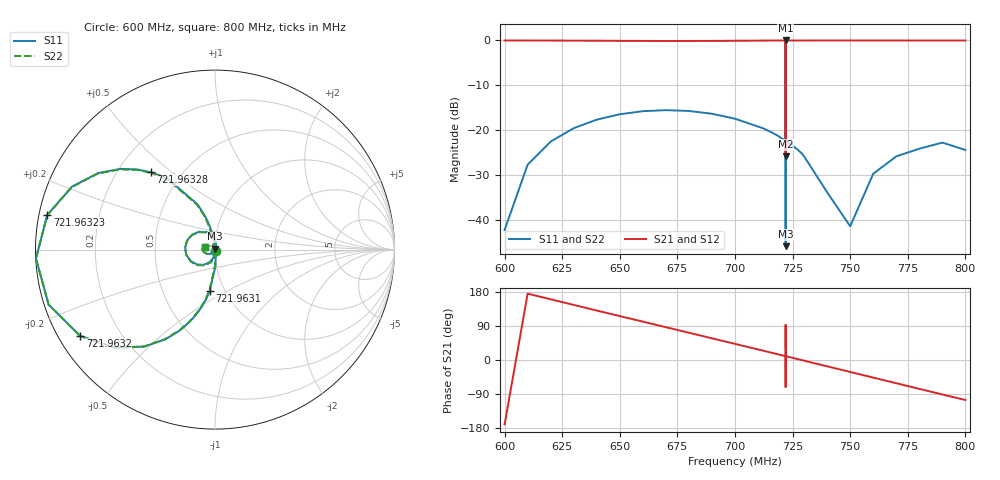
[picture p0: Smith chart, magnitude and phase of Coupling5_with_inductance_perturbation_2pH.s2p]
! Sonnet Data File
! From: emclient Version : 13.56
! From Project: Coupling5_with_inductance_perturbation_2pH
! Data is De-embedded
! Data File Written: 06/30/2014 10:07:00
!< HDATE 05/21/2014 16:49:56
!< MDATE 05/21/2014 17:06:35
# GHZ S RI R 0.020000
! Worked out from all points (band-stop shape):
!   129 points, 600 MHz to 800 MHz, reference 0.02 ohm
!   highest |S21| = 0.00 dB at 721.9627 MHz (marker M1); lowest = -25.9 dB at 721.96322 MHz (marker M2)
!   |S21| within 3 dB of the highest: start of sweep to 721.96318 MHz; 721.96326 MHz to end of sweep
!   lowest |S11| = -45.9 dB at 721.9627 MHz (marker M3), VSWR 1.01, Z = 0.02 + j0.000198 ohm
!   |S11| at or under -10 dB: start of sweep to 721.96313 MHz; 721.96337 MHz to end of sweep
!   |S22| runs from -45.9 to 0.0 dB; largest |S21 - S12| = 2.1e-10
!   S11 on the Smith chart (normalised r, x): 600 MHz: 1.00, -0.01; 721.9631 MHz: 0.85, -0.41; 721.9632 MHz: 0.06, -0.29; 721.96323 MHz: 0.02, +0.10; 721.96328 MHz: 0.34, +0.42; 800 MHz: 0.89, +0.03
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0.6  -0.00179 -0.00745  -0.9848 -0.1736  -0.9848 -0.1736  0.00423 -0.00639
!< P1 F=0.6 Eeff=(undefined: mp) Z0=(undefined: mp) R=0.0 C=0.0
!< P2 F=0.6 Eeff=(undefined: mp) Z0=(undefined: mp) R=0.0 C=0.0
0.61  -0.0065 -0.0406  -0.9954 0.086  -0.9954 0.086  -0.00056 -0.0411
0.64  -0.1011 -0.0828  -0.644 0.7538  -0.644 0.7538  -0.0976 -0.0869
0.67  -0.1663 0.0124  0.0593 0.9842  0.0593 0.9842  -0.1666 0.00769
0.7  -0.0891 0.0997  0.7292 0.6711  0.7292 0.6711  -0.092 0.0971
0.72191  -0.0119 0.0749  0.9813 0.1769  0.9813 0.1769  -0.015 0.0743
0.72196  -0.00918 0.0642  0.9841 0.1651  0.9841 0.1651  -0.0123 0.0637
0.7219622  -0.00409 0.0398  0.9892 0.1407  0.9892 0.1407  -0.00718 0.0394
0.7219626  -0.000394 0.0165  0.9929 0.1174  0.9929 0.1174  -0.00346 0.0161
0.7219627  0.00102 0.00495  0.9944 0.1059  0.9944 0.1059  -0.00204 0.00463
0.7219631  -0.0293 -0.2298  0.9643 -0.1286  0.9643 -0.1286  -0.0319 -0.2295
0.7219632  -0.751 -0.4815  0.2438 -0.3804  0.2438 -0.3804  -0.751 -0.4814
0.72196322  -0.9975 -0.0496  -0.00256 0.0506  -0.00256 0.0506  -0.9974 -0.0513
0.72196323  -0.9348 0.1924  0.0598 0.2924  0.0598 0.2924  -0.9353 0.1901
0.72196328  -0.3583 0.4312  0.6353 0.5312  0.6353 0.5312  -0.3609 0.429
0.721964  -0.0259 0.1204  0.9674 0.2211  0.9674 0.2211  -0.029 0.1197
0.721967  -0.0145 0.0848  0.9789 0.1855  0.9789 0.1855  -0.0176 0.0842
0.72202  -0.0119 0.0759  0.9815 0.1754  0.9815 0.1754  -0.0151 0.0753
0.74  0.00701 0.0189  0.9575 -0.2878  0.9575 -0.2878  0.00459 0.0197
0.75  -0.00347 -0.00769  0.8516 -0.5242  0.8516 -0.5242  -0.0053 -0.00656
0.77  -0.0443 -0.025  0.4796 -0.876  0.4796 -0.876  -0.0449 -0.0238
0.8  -0.0578 0.016  -0.2675 -0.9617  -0.2675 -0.9617  -0.0577 0.0161
